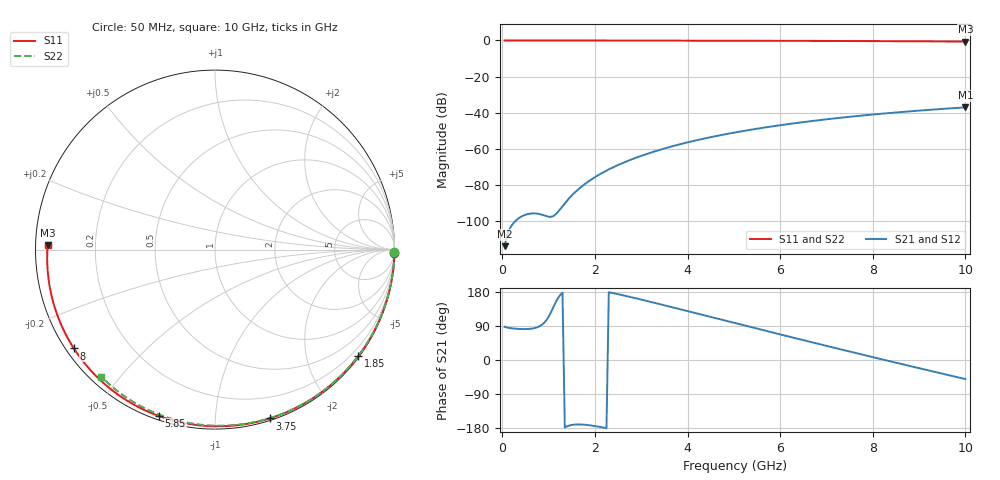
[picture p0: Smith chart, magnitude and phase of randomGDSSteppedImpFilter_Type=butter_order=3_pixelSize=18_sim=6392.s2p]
! freq	dB(S11)	phase(S11)	dB(S12)	phase(S12)
!  dB(S21)	phase(S21)	dB(S22)	phase(S22)
!S-par simulation data
#  GHz  S  DB  R 50
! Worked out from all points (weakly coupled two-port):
!   200 points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, 50 MHz to 10 GHz, reference 50 ohm
!   highest |S21| = -37.05 dB at 10 GHz (marker M1); lowest = -113.9 dB at 50 MHz (marker M2)
!   lowest |S11| = -0.6 dB at 10 GHz (marker M3), VSWR 28.70, Z = 1.74 + j0.683 ohm
!   |S11| at or under -10 dB: nowhere
!   |S22| runs from -0.4 to 0.0 dB; largest |S21 - S12| = 0
!   S11 on the Smith chart (normalised r, x): 50 MHz: open; 1.85 GHz: 0.03, -3.03; 3.75 GHz: 0.02, -1.38; 5.85 GHz: 0.02, -0.72; 8 GHz: 0.02, -0.32; 10 GHz: 0.03, +0.01
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0.05  -0.00 -1.0  -113.87 87.7  -113.87 87.7  -0.00 -0.8
0.45  -0.01 -9.0  -97.00 81.7  -97.00 81.7  -0.01 -6.9
0.85  -0.02 -17.0  -96.40 92.4  -96.40 92.4  -0.02 -12.9
1.3  -0.03 -25.9  -91.73 177.5  -91.73 177.5  -0.02 -19.6
1.75  -0.04 -34.6  -80.11 -170.5  -80.11 -170.5  -0.03 -26.3
1.85  -0.05 -36.5  -78.22 -171.7  -78.22 -171.7  -0.04 -27.7
2.15  -0.05 -42.3  -73.43 -177.5  -73.43 -177.5  -0.04 -32.1
2.5  -0.06 -49.0  -68.96 173.7  -68.96 173.7  -0.05 -37.2
2.9  -0.07 -56.5  -64.80 162.4  -64.80 162.4  -0.06 -43.0
3.4  -0.09 -65.7  -60.56 147.5  -60.56 147.5  -0.07 -50.0
3.75  -0.10 -72.0  -58.04 136.8  -58.04 136.8  -0.07 -54.9
4.4  -0.12 -83.6  -54.08 116.8  -54.08 116.8  -0.09 -63.8
5.05  -0.15 -94.9  -50.81 96.7  -50.81 96.7  -0.11 -72.4
5.85  -0.19 -108.6  -47.48 72.1  -47.48 72.1  -0.14 -82.7
6.7  -0.24 -122.9  -44.56 46.3  -44.56 46.3  -0.18 -93.3
7.35  -0.30 -133.9  -42.66 26.8  -42.66 26.8  -0.22 -101.2
8  -0.36 -145.0  -41.00 7.6  -41.00 7.6  -0.26 -108.9
8.35  -0.39 -151.1  -40.19 -2.7  -40.19 -2.7  -0.29 -113.0
8.8  -0.44 -159.0  -39.22 -15.8  -39.22 -15.8  -0.33 -118.2
9.2  -0.49 -166.3  -38.44 -27.4  -38.44 -27.4  -0.36 -122.7
9.6  -0.55 -173.8  -37.72 -38.9  -37.72 -38.9  -0.40 -127.3
10  -0.61 178.4  -37.05 -50.3  -37.05 -50.3  -0.45 -131.8
